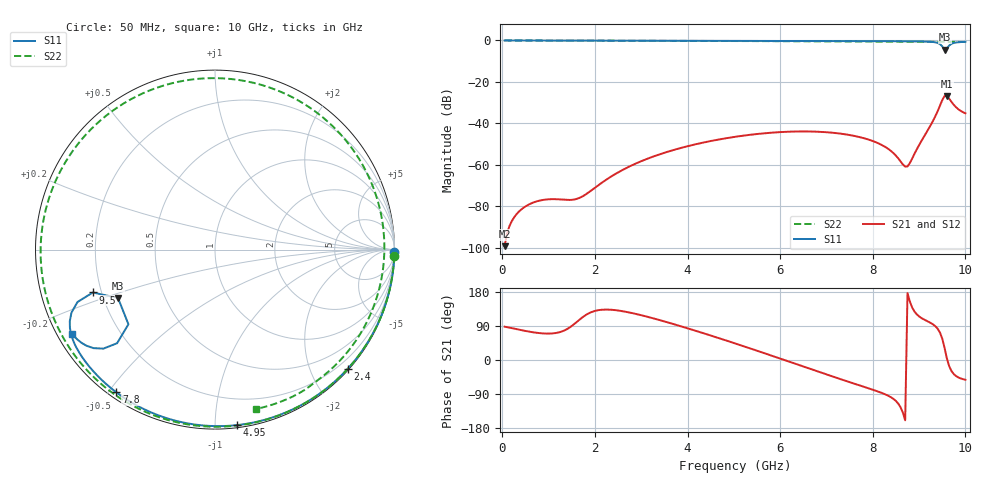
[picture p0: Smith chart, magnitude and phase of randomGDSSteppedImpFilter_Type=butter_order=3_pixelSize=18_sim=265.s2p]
! freq	dB(S11)	phase(S11)	dB(S12)	phase(S12)
!  dB(S21)	phase(S21)	dB(S22)	phase(S22)
!S-par simulation data
#  GHz  S  DB  R 50
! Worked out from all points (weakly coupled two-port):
!   200 points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, 50 MHz to 10 GHz, reference 50 ohm
!   highest |S21| = -26.74 dB at 9.6 GHz (marker M1); lowest = -99.3 dB at 50 MHz (marker M2)
!   lowest |S11| = -4.4 dB at 9.55 GHz (marker M3), VSWR 4.05, Z = 13 - j11 ohm
!   |S11| at or under -10 dB: nowhere
!   |S22| runs from -0.8 to 0.0 dB; largest |S21 - S12| = 0
!   S11 on the Smith chart (normalised r, x): 50 MHz: open; 2.4 GHz: 0.02, -2.61; 4.95 GHz: 0.02, -1.13; 7.8 GHz: 0.02, -0.52; 9.5 GHz: 0.17, -0.17; 10 GHz: 0.04, -0.27
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0.05  -0.00 -0.9  -99.31 87.9  -99.31 87.9  -0.01 -2.0
0.5  -0.01 -8.9  -80.13 76.6  -80.13 76.6  -0.02 -20.0
0.8  -0.02 -14.2  -77.34 71.0  -77.34 71.0  -0.04 -31.9
1.5  -0.03 -26.5  -76.94 89.8  -76.94 89.8  -0.07 -59.2
1.75  -0.04 -30.8  -75.05 114.3  -75.05 114.3  -0.09 -68.7
2.4  -0.05 -41.9  -65.00 132.1  -65.00 132.1  -0.12 -93.3
3.4  -0.08 -58.5  -54.96 105.3  -54.96 105.3  -0.17 -130.5
4.2  -0.10 -71.3  -49.99 76.2  -49.99 76.2  -0.22 -161.0
4.95  -0.13 -82.9  -46.78 46.9  -46.78 46.9  -0.27 168.8
5.05  -0.13 -84.4  -46.44 42.9  -46.44 42.9  -0.28 164.6
6  -0.17 -98.6  -44.25 3.8  -44.25 3.8  -0.35 122.0
6.7  -0.21 -108.8  -43.98 -25.6  -43.98 -25.6  -0.40 87.2
7.2  -0.25 -116.0  -44.71 -46.3  -44.71 -46.3  -0.43 61.2
7.8  -0.29 -124.6  -47.13 -70.4  -47.13 -70.4  -0.46 29.7
8.35  -0.35 -132.8  -52.61 -95.4  -52.61 -95.4  -0.50 1.4
8.75  -0.41 -139.2  -60.84 176.4  -60.84 176.4  -0.54 -18.3
9.35  -0.90 -153.8  -36.62 89.4  -36.62 89.4  -0.64 -46.4
9.5  -2.83 -160.7  -28.82 56.5  -28.82 56.5  -0.67 -53.0
9.55  -4.38 -153.5  -26.86 32.0  -26.86 32.0  -0.66 -55.2
9.6  -3.92 -139.2  -26.74 4.4  -26.74 4.4  -0.65 -57.5
9.7  -1.61 -138.4  -29.68 -29.3  -29.68 -29.3  -0.67 -62.2
10  -0.69 -149.4  -35.18 -52.2  -35.18 -52.2  -0.75 -75.7
